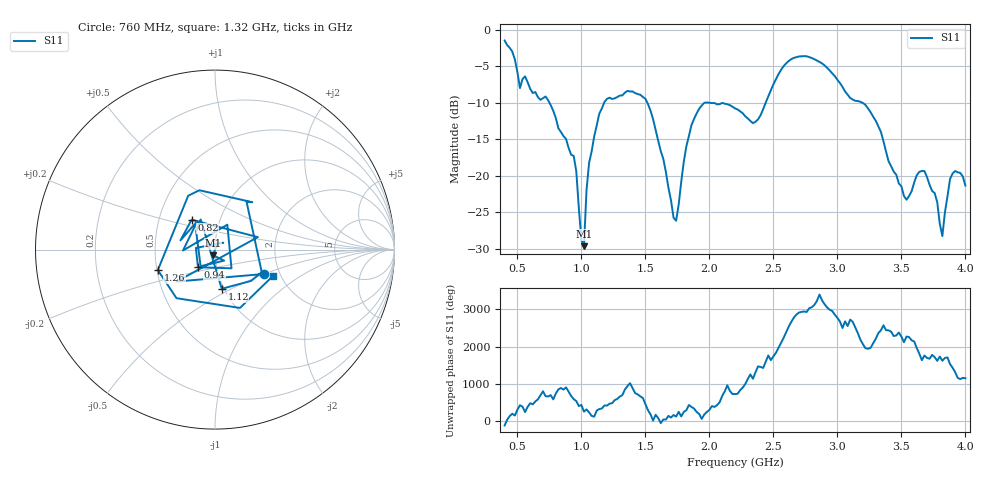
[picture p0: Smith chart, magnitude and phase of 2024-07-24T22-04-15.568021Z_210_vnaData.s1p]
!Created with skrf (http://scikit-rf.org).
# Hz S RI R 50.0
!freq ReS11 ImS11
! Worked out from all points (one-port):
!   181 points, 400 MHz to 4 GHz, reference 50 ohm
!   lowest |S11| = -29.7 dB at 1.02 GHz (marker M1), VSWR 1.07, Z = 48.8 - j3.02 ohm
!   |S11| at or under -10 dB: 1.515 GHz to 1.969 GHz (454.1 MHz wide, 26.1 % of centre); 1.991 GHz to 2.44 GHz (448.5 MHz wide, 20.2 % of centre); 3.194 GHz to end of sweep (the widest 3 of 4)
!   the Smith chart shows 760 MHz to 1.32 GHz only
!   S11 on the Smith chart (normalised r, x): 760 MHz: 1.66, -0.50; 820 MHz: 0.73, +0.25; 940 MHz: 0.81, -0.16; 1.12 GHz: 0.98, -0.45; 1.26 GHz: 0.51, -0.13; 1.32 GHz: 1.82, -0.61
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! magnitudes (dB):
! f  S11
! 400 MHz  -1.5
! 520 MHz  -8.0
! 760 MHz  -10.3
! 820 MHz  -13.5
! 860 MHz  -14.6
! 940 MHz  -17.3
! 1 GHz  -28.8
! 1.02 GHz  -29.7
! 1.06 GHz  -18.2
! 1.12 GHz  -13.1
! 1.26 GHz  -9.4
! 1.3 GHz  -9.0
! 1.32 GHz  -9.0
! 1.5 GHz  -9.5
! 1.72 GHz  -25.8
! 1.76 GHz  -24.0
! 1.82 GHz  -16.0
! 1.92 GHz  -10.8
! 2.2 GHz  -10.8
! 2.36 GHz  -12.6
! 2.66 GHz  -3.9
! 3.1 GHz  -9.4
! 3.3 GHz  -12.5
! 3.56 GHz  -22.8
! 3.68 GHz  -19.4
! 3.82 GHz  -28.3
! 3.88 GHz  -20.5
! 4 GHz  -21.4
